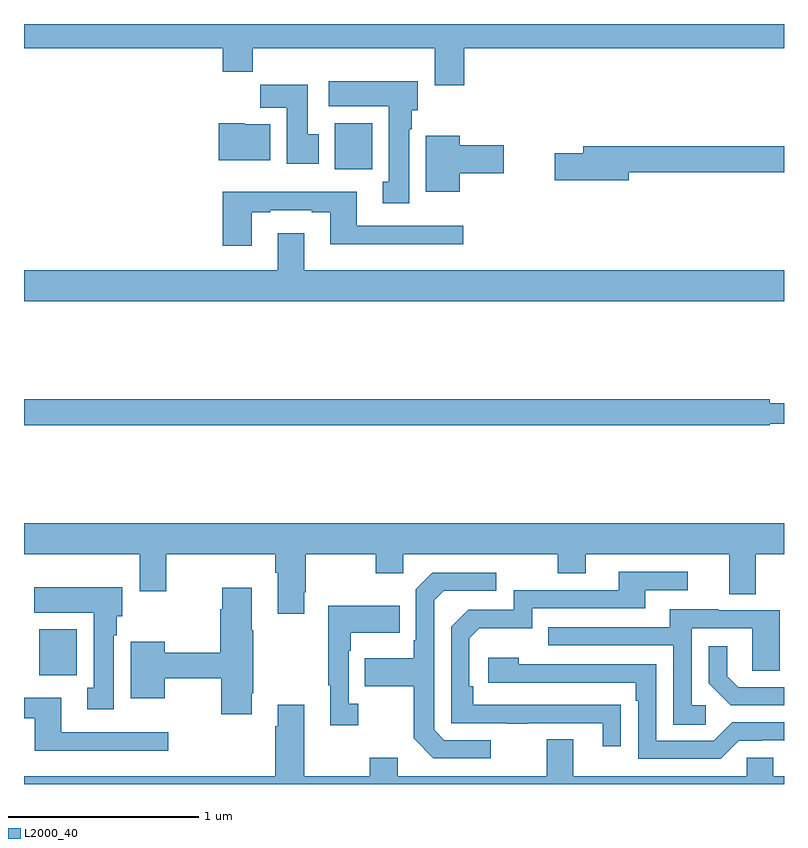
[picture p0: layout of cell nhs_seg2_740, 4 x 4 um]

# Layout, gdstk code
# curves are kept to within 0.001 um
import gdstk
lib = gdstk.Library(unit=1e-6, precision=1e-09)
def R(c, l, rs):  # rectangles x0, y0, x1, y1
    for r in rs: c.add(gdstk.rectangle(r[:2], r[2:], *l))
def P(c, l, *ps):  # polygons
    for p in ps: c.add(gdstk.Polygon(p, *l))
L2000_40 = (2000, 40)

nhs_seg2_740 = lib.new_cell('nhs_seg2_740')
R(nhs_seg2_740, L2000_40, [(149.081,608.372,149.278,608.614), (150.635,611.036,150.832,611.278)])
P(nhs_seg2_740, L2000_40, [(151.316,611.672),(153,611.672),(153,611.8),(149,611.8),(149,611.672),(150.047,611.672),(150.047,611.548),(150.203,611.548),(150.203,611.672),(151.163,611.672),(151.163,611.478),(151.316,611.478)],
  [(151.027,611.246),(151.042,611.246),(151.042,611.346),(151.072,611.346),(151.072,611.5),(150.603,611.5),(150.603,611.366),(150.92,611.366),(150.92,610.97),(150.887,610.97),(150.887,610.857),(151.027,610.857)],
  [(150.55,611.22),(150.493,611.22),(150.493,611.479),(150.244,611.479),(150.244,611.36),(150.383,611.36),(150.383,611.064),(150.55,611.064)],
  [(150.295,611.272),(150.162,611.272),(150.162,611.278),(150.026,611.278),(150.026,611.084),(150.295,611.084)],
  [(151.294,611.015),(151.525,611.015),(151.525,611.162),(151.294,611.162),(151.294,611.212),(151.115,611.212),(151.115,610.916),(151.294,610.916)],
  [(152.182,611.02),(153,611.02),(153,611.156),(151.943,611.156),(151.943,611.12),(151.794,611.12),(151.794,610.978),(152.182,610.978)],
  [(150.199,610.809),(150.295,610.809),(150.295,610.821),(150.515,610.821),(150.515,610.809),(150.611,610.809),(150.611,610.64),(151.312,610.64),(151.312,610.737),(150.751,610.737),(150.751,610.918),(150.047,610.918),(150.047,610.632),(150.199,610.632)],
  [(153,610.504),(150.475,610.504),(150.475,610.699),(150.335,610.699),(150.335,610.504),(149,610.504),(149,610.34),(153,610.34)],
  [(152.926,609.696),(153,609.696),(153,609.805),(152.924,609.805),(152.924,609.824),(149,609.824),(149,609.688),(152.926,609.688)],
  [(150.475,608.809),(150.483,608.809),(150.483,609.008),(150.85,609.008),(150.85,608.909),(150.996,608.909),(150.996,609.008),(151.81,609.008),(151.81,608.909),(151.957,608.909),(151.957,609.008),(152.711,609.008),(152.711,608.8),(152.851,608.8),(152.851,609.008),(153,609.008),(153,609.172),(149,609.172),(149,609.008),(149.609,609.008),(149.609,608.814),(149.749,608.814),(149.749,609.008),(150.323,609.008),(150.323,608.912),(150.335,608.912),(150.335,608.697),(150.475,608.697)],
  [(152.141,608.216),(151.364,608.217),(151.364,608.314),(151.344,608.314),(151.344,608.568),(151.397,608.621),(151.674,608.621),(151.674,608.724),(152.269,608.724),(152.269,608.82),(152.494,608.82),(152.494,608.916),(152.129,608.916),(152.129,608.82),(151.578,608.82),(151.578,608.718),(151.338,608.718),(151.248,608.628),(151.248,608.121),(151.543,608.121),(151.543,608.116),(151.655,608.116),(151.655,608.121),(152.045,608.121),(152.045,607.998),(152.141,607.998)],
  [(151.456,608.031),(151.212,608.031),(151.158,608.085),(151.158,608.766),(151.209,608.817),(151.486,608.817),(151.486,608.913),(151.149,608.913),(151.062,608.826),(151.062,608.557),(151.05,608.557),(151.05,608.461),(150.793,608.461),(150.793,608.314),(151.05,608.314),(151.05,608.041),(151.155,607.935),(151.456,607.935)],
  [(149.473,608.582),(149.488,608.582),(149.488,608.682),(149.518,608.682),(149.518,608.836),(149.054,608.836),(149.054,608.702),(149.366,608.702),(149.366,608.306),(149.333,608.306),(149.333,608.193),(149.473,608.193)],
  [(150.199,608.278),(150.207,608.278),(150.207,608.609),(150.199,608.609),(150.199,608.833),(150.044,608.833),(150.044,608.72),(150.032,608.72),(150.032,608.492),(149.74,608.492),(149.74,608.548),(149.561,608.548),(149.561,608.252),(149.74,608.252),(149.74,608.356),(150.037,608.356),(150.037,608.166),(150.199,608.166)],
  [(150.76,608.222),(150.708,608.222),(150.708,608.501),(150.721,608.501),(150.721,608.597),(150.977,608.597),(150.977,608.737),(150.6,608.737),(150.6,608.321),(150.611,608.321),(150.611,608.109),(150.76,608.109)],
  [(152.587,608.214),(152.514,608.214),(152.514,608.619),(152.832,608.619),(152.832,608.395),(152.977,608.395),(152.977,608.715),(152.653,608.715),(152.653,608.719),(152.399,608.719),(152.399,608.625),(151.759,608.625),(151.759,608.529),(152.418,608.529),(152.418,608.113),(152.587,608.113)],
  [(153,608.31),(152.758,608.31),(152.701,608.367),(152.701,608.524),(152.604,608.524),(152.604,608.33),(152.72,608.214),(153,608.214)],
  [(152.763,608.028),(152.882,608.028),(152.882,608.031),(152.997,608.031),(153,608.028),(153,608.124),(152.727,608.124),(152.631,608.028),(152.328,608.028),(152.328,608.43),(151.604,608.43),(151.604,608.464),(151.443,608.464),(151.443,608.334),(152.219,608.334),(152.219,608.237),(152.232,608.237),(152.232,607.932),(152.667,607.932)],
  [(149.758,608.073),(149.197,608.073),(149.197,608.254),(149,608.254),(149,608.145),(149.057,608.145),(149.057,607.976),(149.758,607.976)],
  [(153,607.84),(152.943,607.84),(152.943,607.938),(152.805,607.938),(152.805,607.84),(151.891,607.84),(151.891,608.035),(151.751,608.035),(151.751,607.84),(150.967,607.84),(150.967,607.939),(150.82,607.939),(150.82,607.84),(150.475,607.84),(150.475,608.218),(150.335,608.218),(150.335,608.105),(150.323,608.105),(150.323,607.84),(149,607.84),(149,607.8),(153,607.8)])

lib.write_gds('nhs_seg2_740.gds')
